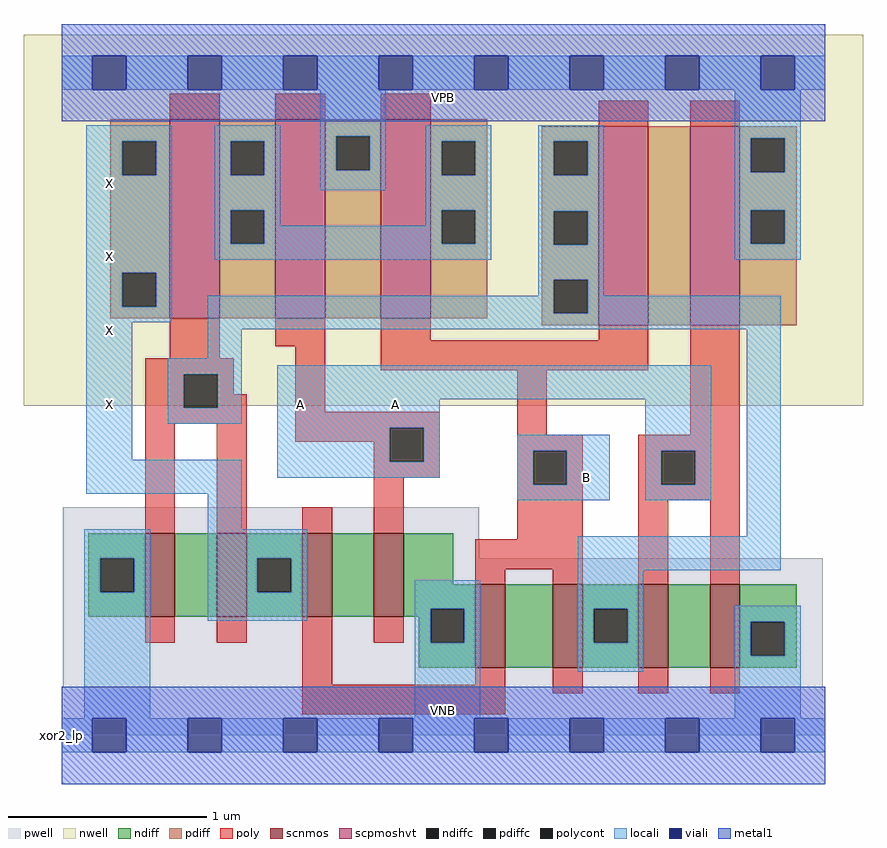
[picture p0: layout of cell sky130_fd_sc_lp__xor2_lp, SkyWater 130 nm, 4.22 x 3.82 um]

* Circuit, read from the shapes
.subckt sky130_fd_sc_lp__xor2_lp A B VGND VNB VPB VPWR X
XM1 n1 n2 VGND VNB sky130_fd_pr__nfet_01v8 w=0.42 l=0.15
XM2 X n2 n1 VNB sky130_fd_pr__nfet_01v8 w=0.42 l=0.15
XM3 n3 B X VNB sky130_fd_pr__nfet_01v8 w=0.42 l=0.15
XM4 VGND A n3 VNB sky130_fd_pr__nfet_01v8 w=0.42 l=0.15
XM5 n4 B VGND VNB sky130_fd_pr__nfet_01v8 w=0.42 l=0.15
XM6 n2 B n4 VNB sky130_fd_pr__nfet_01v8 w=0.42 l=0.15
XM7 n5 A n2 VNB sky130_fd_pr__nfet_01v8 w=0.42 l=0.15
XM8 VGND A n5 VNB sky130_fd_pr__nfet_01v8 w=0.42 l=0.15
XM9 n6 n2 X VPB sky130_fd_pr__pfet_01v8_hvt w=1 l=0.25
XM10 VPWR A n6 VPB sky130_fd_pr__pfet_01v8_hvt w=1 l=0.25
XM11 n6 B VPWR VPB sky130_fd_pr__pfet_01v8_hvt w=1 l=0.25
XM12 n7 B n2 VPB sky130_fd_pr__pfet_01v8_hvt w=1 l=0.25
XM13 VPWR A n7 VPB sky130_fd_pr__pfet_01v8_hvt w=1 l=0.25
.ends

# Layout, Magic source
magic
tech sky130A
magscale 1 2
<< nwell >>
rect -38 331 806 704
<< pwell >>
rect 1 178 420 229
rect 1 49 765 178
rect 0 0 768 49
<< scnmos >>
rect 84 119 114 203
rect 156 119 186 203
rect 242 119 272 203
rect 314 119 344 203
rect 416 68 446 152
rect 494 68 524 152
rect 580 68 610 152
rect 652 68 682 152
<< scpmoshvt >>
rect 109 419 159 619
rect 215 419 265 619
rect 321 419 371 619
rect 540 412 590 612
rect 632 412 682 612
<< ndiff >>
rect 27 178 84 203
rect 27 144 39 178
rect 73 144 84 178
rect 27 119 84 144
rect 114 119 156 203
rect 186 178 242 203
rect 186 144 197 178
rect 231 144 242 178
rect 186 119 242 144
rect 272 119 314 203
rect 344 152 394 203
rect 344 127 416 152
rect 344 119 371 127
rect 359 93 371 119
rect 405 93 416 127
rect 359 68 416 93
rect 446 68 494 152
rect 524 127 580 152
rect 524 93 535 127
rect 569 93 580 127
rect 524 68 580 93
rect 610 68 652 152
rect 682 114 739 152
rect 682 80 693 114
rect 727 80 739 114
rect 682 68 739 80
<< pdiff >>
rect 49 597 109 619
rect 49 563 61 597
rect 95 563 109 597
rect 49 465 109 563
rect 49 431 61 465
rect 95 431 109 465
rect 49 419 109 431
rect 159 597 215 619
rect 159 563 170 597
rect 204 563 215 597
rect 159 528 215 563
rect 159 494 170 528
rect 204 494 215 528
rect 159 419 215 494
rect 265 602 321 619
rect 265 568 276 602
rect 310 568 321 602
rect 265 419 321 568
rect 371 597 428 619
rect 371 563 382 597
rect 416 563 428 597
rect 371 528 428 563
rect 371 494 382 528
rect 416 494 428 528
rect 371 419 428 494
rect 483 597 540 612
rect 483 563 495 597
rect 529 563 540 597
rect 483 527 540 563
rect 483 493 495 527
rect 529 493 540 527
rect 483 458 540 493
rect 483 424 495 458
rect 529 424 540 458
rect 483 412 540 424
rect 590 412 632 612
rect 682 600 739 612
rect 682 566 693 600
rect 727 566 739 600
rect 682 528 739 566
rect 682 494 693 528
rect 727 494 739 528
rect 682 412 739 494
<< ndiffc >>
rect 39 144 73 178
rect 197 144 231 178
rect 371 93 405 127
rect 535 93 569 127
rect 693 80 727 114
<< pdiffc >>
rect 61 563 95 597
rect 61 431 95 465
rect 170 563 204 597
rect 170 494 204 528
rect 276 568 310 602
rect 382 563 416 597
rect 382 494 416 528
rect 495 563 529 597
rect 495 493 529 527
rect 495 424 529 458
rect 693 566 727 600
rect 693 494 727 528
<< poly >>
rect 109 619 159 645
rect 215 619 265 645
rect 321 619 371 645
rect 540 612 590 638
rect 632 612 682 638
rect 109 379 159 419
rect 215 391 265 419
rect 84 363 173 379
rect 84 329 123 363
rect 157 343 173 363
rect 157 329 186 343
rect 84 313 186 329
rect 84 203 114 313
rect 156 203 186 313
rect 235 325 265 391
rect 321 397 371 419
rect 540 397 590 412
rect 321 367 590 397
rect 235 309 380 325
rect 235 295 330 309
rect 314 275 330 295
rect 364 275 380 309
rect 314 259 380 275
rect 458 302 488 367
rect 632 302 682 412
rect 458 286 524 302
rect 242 203 272 229
rect 314 203 344 259
rect 458 252 474 286
rect 508 252 524 286
rect 458 197 524 252
rect 416 167 524 197
rect 416 152 446 167
rect 494 152 524 167
rect 580 286 682 302
rect 580 252 603 286
rect 637 252 682 286
rect 580 236 682 252
rect 580 152 610 236
rect 652 152 682 236
rect 84 93 114 119
rect 156 93 186 119
rect 242 51 272 119
rect 314 93 344 119
rect 416 51 446 68
rect 242 21 446 51
rect 494 42 524 68
rect 580 42 610 68
rect 652 42 682 68
<< polycont >>
rect 123 329 157 363
rect 330 275 364 309
rect 474 252 508 286
rect 603 252 637 286
<< locali >>
rect 0 649 31 683
rect 65 649 127 683
rect 161 649 223 683
rect 257 649 319 683
rect 353 649 415 683
rect 449 649 511 683
rect 545 649 607 683
rect 641 649 703 683
rect 737 649 768 683
rect 25 597 111 613
rect 25 563 61 597
rect 95 563 111 597
rect 25 465 111 563
rect 154 597 220 613
rect 154 563 170 597
rect 204 563 220 597
rect 154 528 220 563
rect 260 602 326 649
rect 260 568 276 602
rect 310 568 326 602
rect 260 548 326 568
rect 366 597 432 613
rect 366 563 382 597
rect 416 563 432 597
rect 154 494 170 528
rect 204 512 220 528
rect 366 528 432 563
rect 366 512 382 528
rect 204 494 382 512
rect 416 494 432 528
rect 154 478 432 494
rect 479 597 545 613
rect 479 563 495 597
rect 529 563 545 597
rect 479 527 545 563
rect 479 493 495 527
rect 529 493 545 527
rect 25 431 61 465
rect 95 431 111 465
rect 479 458 545 493
rect 677 600 743 649
rect 677 566 693 600
rect 727 566 743 600
rect 677 528 743 566
rect 677 494 693 528
rect 727 494 743 528
rect 677 478 743 494
rect 479 442 495 458
rect 25 415 111 431
rect 147 424 495 442
rect 529 442 545 458
rect 529 424 723 442
rect 25 277 71 415
rect 147 408 723 424
rect 147 379 181 408
rect 107 363 181 379
rect 107 329 123 363
rect 157 329 181 363
rect 107 313 181 329
rect 217 338 653 372
rect 217 309 380 338
rect 25 243 181 277
rect 217 275 330 309
rect 364 275 380 309
rect 217 259 380 275
rect 458 286 551 302
rect 147 207 181 243
rect 458 252 474 286
rect 508 252 551 286
rect 458 236 551 252
rect 587 286 653 338
rect 587 252 603 286
rect 637 252 653 286
rect 587 236 653 252
rect 23 178 89 207
rect 23 144 39 178
rect 73 144 89 178
rect 23 17 89 144
rect 147 178 247 207
rect 689 200 723 408
rect 147 144 197 178
rect 231 144 247 178
rect 519 166 723 200
rect 147 115 247 144
rect 355 127 421 156
rect 355 93 371 127
rect 405 93 421 127
rect 355 17 421 93
rect 519 127 585 166
rect 519 93 535 127
rect 569 93 585 127
rect 519 64 585 93
rect 677 114 743 130
rect 677 80 693 114
rect 727 80 743 114
rect 677 17 743 80
rect 0 -17 31 17
rect 65 -17 127 17
rect 161 -17 223 17
rect 257 -17 319 17
rect 353 -17 415 17
rect 449 -17 511 17
rect 545 -17 607 17
rect 641 -17 703 17
rect 737 -17 768 17
<< viali >>
rect 31 649 65 683
rect 127 649 161 683
rect 223 649 257 683
rect 319 649 353 683
rect 415 649 449 683
rect 511 649 545 683
rect 607 649 641 683
rect 703 649 737 683
rect 31 -17 65 17
rect 127 -17 161 17
rect 223 -17 257 17
rect 319 -17 353 17
rect 415 -17 449 17
rect 511 -17 545 17
rect 607 -17 641 17
rect 703 -17 737 17
<< metal1 >>
rect 0 683 768 715
rect 0 649 31 683
rect 65 649 127 683
rect 161 649 223 683
rect 257 649 319 683
rect 353 649 415 683
rect 449 649 511 683
rect 545 649 607 683
rect 641 649 703 683
rect 737 649 768 683
rect 0 617 768 649
rect 0 17 768 49
rect 0 -17 31 17
rect 65 -17 127 17
rect 161 -17 223 17
rect 257 -17 319 17
rect 353 -17 415 17
rect 449 -17 511 17
rect 545 -17 607 17
rect 641 -17 703 17
rect 737 -17 768 17
rect 0 -49 768 -17
<< labels >>
flabel pwell s 0 0 768 49 0 FreeSans 200 0 0 0 VNB
port 4 nsew ground bidirectional
flabel nwell s 0 617 768 666 0 FreeSans 200 0 0 0 VPB
port 5 nsew power bidirectional
rlabel comment s 0 0 0 0 4 xor2_lp
flabel metal1 s 0 617 768 666 0 FreeSans 340 0 0 0 VPWR
port 6 nsew power bidirectional
flabel metal1 s 0 0 768 49 0 FreeSans 340 0 0 0 VGND
port 3 nsew ground bidirectional
flabel locali s 511 242 545 276 0 FreeSans 340 0 0 0 B
port 2 nsew signal input
flabel locali s 223 316 257 350 0 FreeSans 340 0 0 0 A
port 1 nsew signal input
flabel locali s 319 316 353 350 0 FreeSans 340 0 0 0 A
port 1 nsew signal input
flabel locali s 31 316 65 350 0 FreeSans 340 0 0 0 X
port 7 nsew signal output
flabel locali s 31 390 65 424 0 FreeSans 340 0 0 0 X
port 7 nsew signal output
flabel locali s 31 464 65 498 0 FreeSans 340 0 0 0 X
port 7 nsew signal output
flabel locali s 31 538 65 572 0 FreeSans 340 0 0 0 X
port 7 nsew signal output
<< properties >>
string LEFsite unit
string LEFclass CORE
string FIXED_BBOX 0 0 768 666
string GDS_FILE $PDKPATH/libs.ref/sky130_fd_sc_lp/gds/sky130_fd_sc_lp.gds
string LEFsymmetry X Y R90
string GDS_END 2087068
string GDS_START 2080844
<< end >>
